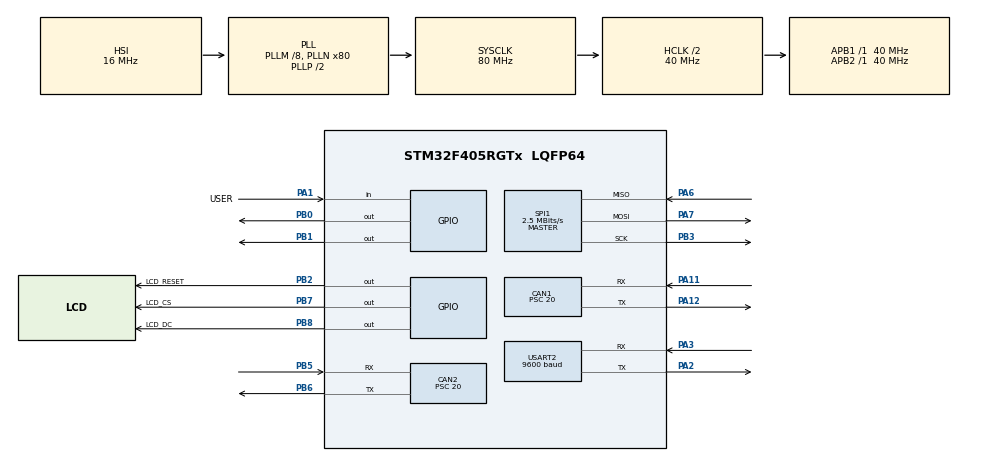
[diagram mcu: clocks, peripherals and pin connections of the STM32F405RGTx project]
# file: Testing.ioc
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CAN1.BS1=CAN_BS1_2TQ
CAN1.CalculateBaudRate=500000
CAN1.CalculateTimeBit=2000
CAN1.CalculateTimeQuantum=500.0
CAN1.Prescaler=20
CAN2.BS1=CAN_BS1_2TQ
CAN2.CalculateBaudRate=500000
CAN2.CalculateTimeBit=2000
CAN2.CalculateTimeQuantum=500.0
CAN2.Prescaler=20
Mcu.Family=STM32F4
Mcu.Name=STM32F405RGTx
Mcu.Package=LQFP64
NVIC.CAN1_RX0_IRQn=true\:0\:0\:false\:false\:true\:true\:true\:true
NVIC.CAN2_RX1_IRQn=true\:0\:0\:false\:false\:true\:true\:true\:true
NVIC.PriorityGroup=NVIC_PRIORITYGROUP_4
NVIC.TIM2_IRQn=true\:0\:0\:false\:false\:true\:true\:true\:true
NVIC.USART2_IRQn=true\:0\:0\:false\:false\:true\:true\:true\:true
PA1.GPIO_Label=USER
PA1.GPIO_PuPd=GPIO_PULLUP
PA1.Signal=GPIO_Input
PA11.Mode=CAN_Activate
PA11.Signal=CAN1_RX
PA12.Mode=CAN_Activate
PA12.Signal=CAN1_TX
PA13.Mode=Serial_Wire
PA13.Signal=SYS_JTMS-SWDIO
PA14.Mode=Serial_Wire
PA14.Signal=SYS_JTCK-SWCLK
PA2.Mode=Asynchronous
PA2.Signal=USART2_TX
PA3.Mode=Asynchronous
PA3.Signal=USART2_RX
PA6.Mode=Full_Duplex_Master
PA6.Signal=SPI1_MISO
PA7.Mode=Full_Duplex_Master
PA7.Signal=SPI1_MOSI
PB0.Signal=GPIO_Output
PB1.Signal=GPIO_Output
PB2.GPIO_Label=LCD_RESET
PB2.Signal=GPIO_Output
PB3.Mode=Full_Duplex_Master
PB3.Signal=SPI1_SCK
PB5.Mode=CAN_Activate
PB5.Signal=CAN2_RX
PB6.Mode=CAN_Activate
PB6.Signal=CAN2_TX
PB7.GPIO_Label=LCD_CS
PB7.Signal=GPIO_Output
PB8.GPIO_Label=LCD_DC
PB8.Signal=GPIO_Output
PC10.Signal=USART3_TX
PC11.Signal=USART3_RX
PH0-OSC_IN.Mode=HSE-External-Oscillator
PH0-OSC_IN.Signal=RCC_OSC_IN
PH1-OSC_OUT.Mode=HSE-External-Oscillator
PH1-OSC_OUT.Signal=RCC_OSC_OUT
ProjectManager.HeapSize=0x200
ProjectManager.StackSize=0x400
ProjectManager.TargetToolchain=STM32CubeIDE
RCC.48MHZClocksFreq_Value=40000000
RCC.AHBCLKDivider=RCC_SYSCLK_DIV2
RCC.AHBFreq_Value=40000000
RCC.APB1Freq_Value=40000000
RCC.APB1TimFreq_Value=40000000
RCC.APB2Freq_Value=40000000
RCC.APB2TimFreq_Value=40000000
RCC.CortexFreq_Value=40000000
RCC.HCLKFreq_Value=40000000
RCC.HSE_VALUE=25000000
RCC.HSI_VALUE=16000000
RCC.LSE_VALUE=32768
RCC.PLLM=8
RCC.PLLN=80
RCC.SYSCLKFreq_VALUE=80000000
RCC.SYSCLKSource=RCC_SYSCLKSOURCE_PLLCLK
RCC.VCOOutputFreq_Value=160000000
SPI1.BaudRatePrescaler=SPI_BAUDRATEPRESCALER_16
SPI1.CalculateBaudRate=2.5 MBits/s
SPI1.Direction=SPI_DIRECTION_2LINES
SPI1.Mode=SPI_MODE_MASTER
SPI1.VirtualType=VM_MASTER
TIM2.Period=7
TIM2.Prescaler=57142
USART2.BaudRate=9600
USART2.VirtualMode=VM_ASYNC
VP_TIM2_VS_ClockSourceINT.Mode=Internal
board=custom

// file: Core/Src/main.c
/* USER CODE BEGIN Header */
/**
  ******************************************************************************
  * @file           : main.c
  * @brief          : Main program body
  ******************************************************************************
  * @attention
  *
  * Copyright (c) 2023 STMicroelectronics.
  * All rights reserved.
  *
  * This software is licensed under terms that can be found in the LICENSE file
  * in the root directory of this software component.
  * If no LICENSE file comes with this software, it is provided AS-IS.
  *
  ******************************************************************************
  */
/* USER CODE END Header */
#include "main.h"

/* USER CODE BEGIN Includes */
#include <string.h>
#include <stdio.h>
#include "timer.h"
#include "button.h"
#include "st7789.h"
#include "LCD_display.h"
/* USER CODE END Includes */

CAN_HandleTypeDef hcan1;
CAN_HandleTypeDef hcan2;

SPI_HandleTypeDef hspi1;

TIM_HandleTypeDef htim2;

UART_HandleTypeDef huart2;

/* USER CODE BEGIN PV */
CAN_RxHeaderTypeDef rx1Header; //CAN1 Bus Transmit Header
CAN_TxHeaderTypeDef tx1Header; //CAN1 Bus Receive Header

CAN_RxHeaderTypeDef rx2Header; //CAN2 Bus Transmit Header
CAN_TxHeaderTypeDef tx2Header; //CAN2 Bus Receive Header

CAN_FilterTypeDef canfil1; //CAN Bus Filter
CAN_FilterTypeDef canfil2; //CAN Bus Filter
uint32_t canMailbox; //CAN Bus Mail box variable

uint8_t Tx1Data[8];
uint8_t Tx2Data[8];

uint8_t Rx1Data[8];
uint8_t Rx2Data[8];

uint8_t DataFlag = 0;
/* USER CODE END PV */

void SystemClock_Config(void);
static void MX_GPIO_Init(void);
static void MX_CAN1_Init(void);
static void MX_CAN2_Init(void);
static void MX_USART2_UART_Init(void);
static void MX_TIM2_Init(void);
static void MX_SPI1_Init(void);
/* USER CODE BEGIN PFP */
void CAN1_filter_init(){
	canfil1.FilterBank = 10;
	canfil1.FilterMode = CAN_FILTERMODE_IDMASK;
	canfil1.FilterFIFOAssignment = CAN_RX_FIFO0;
	canfil1.FilterIdHigh = 0x0A2 << 5;
	canfil1.FilterIdLow = 0;
	canfil1.FilterMaskIdHigh = 0x0A2 << 5;
	canfil1.FilterMaskIdLow = 0;
	canfil1.FilterScale = CAN_FILTERSCALE_32BIT;
	canfil1.FilterActivation = ENABLE;
	canfil1.SlaveStartFilterBank = 14;
}

void CAN2_filter_init(){
	canfil2.FilterBank = 20;
	canfil2.FilterMode = CAN_FILTERMODE_IDMASK;
	canfil2.FilterFIFOAssignment = CAN_RX_FIFO1;
	canfil2.FilterIdHigh = 0x012 << 5;
	canfil2.FilterIdLow = 0;
	canfil2.FilterMaskIdHigh = 0x012 << 5;
	canfil2.FilterMaskIdLow = 0;
	canfil2.FilterScale = CAN_FILTERSCALE_32BIT;
	canfil2.FilterActivation = ENABLE;
	canfil2.SlaveStartFilterBank = 14;
}

uint8_t calculate_crc_sae_j1850(uint8_t *data, int length){
	 uint8_t polynomial = 0x1D; // Generator polynomial for CRC-8 SAE J1850
	 uint8_t remainder = 0xFF;

	    for (int i = 0; i < length; i++) {
	        remainder ^= data[i];
	        for (int bit = 0; bit < 8; bit++) {
	            if (remainder & 0x80) {
	                remainder = (remainder << 1) ^ polynomial;
	            } else {
	                remainder <<= 1;
	            }
	        }
	    }

	    return remainder ^ 0xFF; // Invert the bits
}

void Tx1_message_define(){
	tx1Header.DLC = 8;
	tx1Header.IDE = CAN_ID_STD;
	tx1Header.RTR = CAN_RTR_DATA;
	tx1Header.StdId = 0x012;
	tx1Header.ExtId = 0x02;
	tx1Header.TransmitGlobalTime = DISABLE;
}

void Tx2_message_define(){
	tx2Header.DLC = 8;
	tx2Header.IDE = CAN_ID_STD;
	tx2Header.RTR = CAN_RTR_DATA;
	tx2Header.StdId = 0x0A2;
	tx2Header.ExtId = 0x02;
	tx2Header.TransmitGlobalTime = DISABLE;
}

void Tx2_data(){
	Tx2Data[0] = 0x22;
	Tx2Data[1] = 0x12;
}

void Tx1_data(){
	Tx1Data[0] = Tx2Data[0];
	Tx1Data[1] = Tx2Data[1];
	Tx1Data[2] = Tx2Data[0] + Tx2Data[1];
	Tx1Data[7] = calculate_crc_sae_j1850(&Tx1Data[0], 7);
}

/* USER CODE END PFP */

int main(void)
{

  /* MCU Configuration--------------------------------------------------------*/

  /* Reset of all peripherals, Initializes the Flash interface and the Systick. */
  HAL_Init();

  /* Configure the system clock */
  SystemClock_Config();

  /* Initialize all configured peripherals */
  MX_GPIO_Init();
  MX_CAN1_Init();
  MX_CAN2_Init();
  MX_USART2_UART_Init();
  MX_TIM2_Init();
  MX_SPI1_Init();
  /* USER CODE BEGIN 2 */
  CAN1_filter_init();
  CAN2_filter_init();

  Tx1_message_define();
  Tx2_message_define();

  Tx2_data();
  Tx1_data();

  HAL_TIM_Base_Start_IT(&htim2);

  HAL_CAN_Start(&hcan1);
  HAL_CAN_Start(&hcan2);
  HAL_CAN_ConfigFilter(&hcan1,&canfil1);
  HAL_CAN_ConfigFilter(&hcan2,&canfil2);

  HAL_CAN_ActivateNotification(&hcan1,CAN_IT_RX_FIFO0_MSG_PENDING);
  HAL_CAN_ActivateNotification(&hcan2,CAN_IT_RX_FIFO1_MSG_PENDING);

  lcd_init();
  ST7789_Init();

//  ST7789_WriteString(0, 0, "..............................................", Font_7x10, RED, WHITE);
  	setTimer1(10);
  /* USER CODE END 2 */

  /* Infinite loop */
  /* USER CODE BEGIN WHILE */
  while (1)
  {
	  if(timer1_flag){
		  if(HAL_CAN_AddTxMessage(&hcan2,&tx2Header,Tx2Data,&canMailbox) == HAL_OK){
			  HAL_GPIO_WritePin(GPIOB, GPIO_PIN_1, 1);
		  }
		  setTimer1(100);
	  }
  }

    /* USER CODE END WHILE */

}

void SystemClock_Config(void)
{
  RCC_OscInitTypeDef RCC_OscInitStruct = {0};
  RCC_ClkInitTypeDef RCC_ClkInitStruct = {0};

  /** Configure the main internal regulator output voltage
  */
  __HAL_RCC_PWR_CLK_ENABLE();
  __HAL_PWR_VOLTAGESCALING_CONFIG(PWR_REGULATOR_VOLTAGE_SCALE1);

  /** Initializes the RCC Oscillators according to the specified parameters
  * in the RCC_OscInitTypeDef structure.
  */
  RCC_OscInitStruct.OscillatorType = RCC_OSCILLATORTYPE_HSI;
  RCC_OscInitStruct.HSIState = RCC_HSI_ON;
  RCC_OscInitStruct.HSICalibrationValue = RCC_HSICALIBRATION_DEFAULT;
  RCC_OscInitStruct.PLL.PLLState = RCC_PLL_ON;
  RCC_OscInitStruct.PLL.PLLSource = RCC_PLLSOURCE_HSI;
  RCC_OscInitStruct.PLL.PLLM = 8;
  RCC_OscInitStruct.PLL.PLLN = 80;
  RCC_OscInitStruct.PLL.PLLP = RCC_PLLP_DIV2;
  RCC_OscInitStruct.PLL.PLLQ = 4;
  if (HAL_RCC_OscConfig(&RCC_OscInitStruct) != HAL_OK)
  {
    Error_Handler();
  }

  /** Initializes the CPU, AHB and APB buses clocks
  */
  RCC_ClkInitStruct.ClockType = RCC_CLOCKTYPE_HCLK|RCC_CLOCKTYPE_SYSCLK
                              |RCC_CLOCKTYPE_PCLK1|RCC_CLOCKTYPE_PCLK2;
  RCC_ClkInitStruct.SYSCLKSource = RCC_SYSCLKSOURCE_PLLCLK;
  RCC_ClkInitStruct.AHBCLKDivider = RCC_SYSCLK_DIV2;
  RCC_ClkInitStruct.APB1CLKDivider = RCC_HCLK_DIV1;
  RCC_ClkInitStruct.APB2CLKDivider = RCC_HCLK_DIV1;

  if (HAL_RCC_ClockConfig(&RCC_ClkInitStruct, FLASH_LATENCY_1) != HAL_OK)
  {
    Error_Handler();
  }
}

static void MX_CAN1_Init(void)
{

  hcan1.Instance = CAN1;
  hcan1.Init.Prescaler = 20;
  hcan1.Init.Mode = CAN_MODE_NORMAL;
  hcan1.Init.SyncJumpWidth = CAN_SJW_1TQ;
  hcan1.Init.TimeSeg1 = CAN_BS1_2TQ;
  hcan1.Init.TimeSeg2 = CAN_BS2_1TQ;
  hcan1.Init.TimeTriggeredMode = DISABLE;
  hcan1.Init.AutoBusOff = DISABLE;
  hcan1.Init.AutoWakeUp = DISABLE;
  hcan1.Init.AutoRetransmission = DISABLE;
  hcan1.Init.ReceiveFifoLocked = DISABLE;
  hcan1.Init.TransmitFifoPriority = DISABLE;
  if (HAL_CAN_Init(&hcan1) != HAL_OK)
  {
    Error_Handler();
  }

}

static void MX_CAN2_Init(void)
{

  hcan2.Instance = CAN2;
  hcan2.Init.Prescaler = 20;
  hcan2.Init.Mode = CAN_MODE_NORMAL;
  hcan2.Init.SyncJumpWidth = CAN_SJW_1TQ;
  hcan2.Init.TimeSeg1 = CAN_BS1_2TQ;
  hcan2.Init.TimeSeg2 = CAN_BS2_1TQ;
  hcan2.Init.TimeTriggeredMode = DISABLE;
  hcan2.Init.AutoBusOff = DISABLE;
  hcan2.Init.AutoWakeUp = DISABLE;
  hcan2.Init.AutoRetransmission = DISABLE;
  hcan2.Init.ReceiveFifoLocked = DISABLE;
  hcan2.Init.TransmitFifoPriority = DISABLE;
  if (HAL_CAN_Init(&hcan2) != HAL_OK)
  {
    Error_Handler();
  }

}

static void MX_SPI1_Init(void)
{

  /* SPI1 parameter configuration*/
  hspi1.Instance = SPI1;
  hspi1.Init.Mode = SPI_MODE_MASTER;
  hspi1.Init.Direction = SPI_DIRECTION_2LINES;
  hspi1.Init.DataSize = SPI_DATASIZE_8BIT;
  hspi1.Init.CLKPolarity = SPI_POLARITY_LOW;
  hspi1.Init.CLKPhase = SPI_PHASE_1EDGE;
  hspi1.Init.NSS = SPI_NSS_SOFT;
  hspi1.Init.BaudRatePrescaler = SPI_BAUDRATEPRESCALER_16;
  hspi1.Init.FirstBit = SPI_FIRSTBIT_MSB;
  hspi1.Init.TIMode = SPI_TIMODE_DISABLE;
  hspi1.Init.CRCCalculation = SPI_CRCCALCULATION_DISABLE;
  hspi1.Init.CRCPolynomial = 10;
  if (HAL_SPI_Init(&hspi1) != HAL_OK)
  {
    Error_Handler();
  }

}

static void MX_TIM2_Init(void)
{

  TIM_ClockConfigTypeDef sClockSourceConfig = {0};
  TIM_MasterConfigTypeDef sMasterConfig = {0};

  htim2.Instance = TIM2;
  htim2.Init.Prescaler = 57142;
  htim2.Init.CounterMode = TIM_COUNTERMODE_UP;
  htim2.Init.Period = 7;
  htim2.Init.ClockDivision = TIM_CLOCKDIVISION_DIV1;
  htim2.Init.AutoReloadPreload = TIM_AUTORELOAD_PRELOAD_DISABLE;
  if (HAL_TIM_Base_Init(&htim2) != HAL_OK)
  {
    Error_Handler();
  }
  sClockSourceConfig.ClockSource = TIM_CLOCKSOURCE_INTERNAL;
  if (HAL_TIM_ConfigClockSource(&htim2, &sClockSourceConfig) != HAL_OK)
  {
    Error_Handler();
  }
  sMasterConfig.MasterOutputTrigger = TIM_TRGO_RESET;
  sMasterConfig.MasterSlaveMode = TIM_MASTERSLAVEMODE_DISABLE;
  if (HAL_TIMEx_MasterConfigSynchronization(&htim2, &sMasterConfig) != HAL_OK)
  {
    Error_Handler();
  }

}

static void MX_USART2_UART_Init(void)
{

  huart2.Instance = USART2;
  huart2.Init.BaudRate = 9600;
  huart2.Init.WordLength = UART_WORDLENGTH_8B;
  huart2.Init.StopBits = UART_STOPBITS_1;
  huart2.Init.Parity = UART_PARITY_NONE;
  huart2.Init.Mode = UART_MODE_TX_RX;
  huart2.Init.HwFlowCtl = UART_HWCONTROL_NONE;
  huart2.Init.OverSampling = UART_OVERSAMPLING_16;
  if (HAL_UART_Init(&huart2) != HAL_OK)
  {
    Error_Handler();
  }

}

static void MX_GPIO_Init(void)
{
  GPIO_InitTypeDef GPIO_InitStruct = {0};

  /* GPIO Ports Clock Enable */
  __HAL_RCC_GPIOH_CLK_ENABLE();
  __HAL_RCC_GPIOA_CLK_ENABLE();
  __HAL_RCC_GPIOB_CLK_ENABLE();
  __HAL_RCC_GPIOC_CLK_ENABLE();

  /*Configure GPIO pin Output Level */
  HAL_GPIO_WritePin(GPIOB, GPIO_PIN_0|GPIO_PIN_1|LCD_RESET_Pin|LCD_CS_Pin
                          |LCD_DC_Pin, GPIO_PIN_RESET);

  /*Configure GPIO pin : USER_Pin */
  GPIO_InitStruct.Pin = USER_Pin;
  GPIO_InitStruct.Mode = GPIO_MODE_INPUT;
  GPIO_InitStruct.Pull = GPIO_PULLUP;
  HAL_GPIO_Init(USER_GPIO_Port, &GPIO_InitStruct);

  /*Configure GPIO pins : PB0 PB1 LCD_RESET_Pin LCD_CS_Pin
                           LCD_DC_Pin */
  GPIO_InitStruct.Pin = GPIO_PIN_0|GPIO_PIN_1|LCD_RESET_Pin|LCD_CS_Pin
                          |LCD_DC_Pin;
  GPIO_InitStruct.Mode = GPIO_MODE_OUTPUT_PP;
  GPIO_InitStruct.Pull = GPIO_NOPULL;
  GPIO_InitStruct.Speed = GPIO_SPEED_FREQ_LOW;
  HAL_GPIO_Init(GPIOB, &GPIO_InitStruct);

  /*Configure GPIO pins : PC10 PC11 */
  GPIO_InitStruct.Pin = GPIO_PIN_10|GPIO_PIN_11;
  GPIO_InitStruct.Mode = GPIO_MODE_AF_PP;
  GPIO_InitStruct.Pull = GPIO_NOPULL;
  GPIO_InitStruct.Speed = GPIO_SPEED_FREQ_VERY_HIGH;
  GPIO_InitStruct.Alternate = GPIO_AF7_USART3;
  HAL_GPIO_Init(GPIOC, &GPIO_InitStruct);

}

/* USER CODE BEGIN 4 */
uint8_t Buffer[20];
uint8_t Buffer1[20];
uint8_t Buffer2[20];
uint8_t Buffer3[20];
uint8_t Buffer4[20];
uint8_t Buffer5[20];
uint8_t Buffer6[20];
uint8_t Buffer7[20];

void HAL_TIM_PeriodElapsedCallback(TIM_HandleTypeDef *htim){
	timerRun();
	//getKeyInput();
}

void HAL_CAN_RxFifo0MsgPendingCallback(CAN_HandleTypeDef *hcan)
{
	if(HAL_CAN_GetRxMessage(&hcan1, CAN_RX_FIFO0, &rx1Header, Rx1Data) == HAL_OK){
		if(rx1Header.DLC == 8){
			sprintf(&Buffer[0], "IDCAN2:0x%03x", tx2Header.StdId);
			sprintf(&Buffer1[0], "Data0:0x%02x", Rx1Data[0]);
			sprintf(&Buffer2[0], "Data1:0x%02x", Rx1Data[1]);

			ST7789_WriteString(0, 0,&Buffer[0], Font_11x18, RED, WHITE);
			ST7789_WriteString(0, 19, &Buffer1[0], Font_11x18, RED, WHITE);
			ST7789_WriteString(0, 38, &Buffer2[0], Font_11x18, RED, WHITE);
			if(HAL_CAN_AddTxMessage(&hcan1,&tx1Header,Tx1Data,&canMailbox) == HAL_OK){
				HAL_GPIO_WritePin(GPIOB, GPIO_PIN_0, 1);
			}
		}
	}

}

void HAL_CAN_RxFifo1MsgPendingCallback(CAN_HandleTypeDef *hcan)
{
	if(HAL_CAN_GetRxMessage(&hcan2, CAN_RX_FIFO1, &rx2Header, Rx2Data) == HAL_OK){
		if(rx2Header.DLC == 8){
			sprintf(&Buffer3[0], "IDCAN1:0x%03x", tx1Header.StdId);
			sprintf(&Buffer4[0], "Data0:0x%02x", Rx2Data[0]);
			sprintf(&Buffer5[0], "Data1:0x%02x", Rx2Data[1]);
			sprintf(&Buffer6[0], "Data2:0x%02x", Rx2Data[2]);
			sprintf(&Buffer7[0], "Data7:0x%02x", Rx2Data[7]);

			ST7789_WriteString(0, 57, &Buffer3[0], Font_11x18, RED, WHITE);
			ST7789_WriteString(0, 76, &Buffer4[0], Font_11x18, RED, WHITE);
			ST7789_WriteString(0, 95, &Buffer5[0], Font_11x18, RED, WHITE);
			ST7789_WriteString(0, 114, &Buffer6[0], Font_11x18, RED, WHITE);
			ST7789_WriteString(0, 133, &Buffer7[0], Font_11x18, RED, WHITE);
		}

	}

}
/* USER CODE END 4 */

void Error_Handler(void)
{
  __disable_irq();
  while (1)
  {
  }
}
